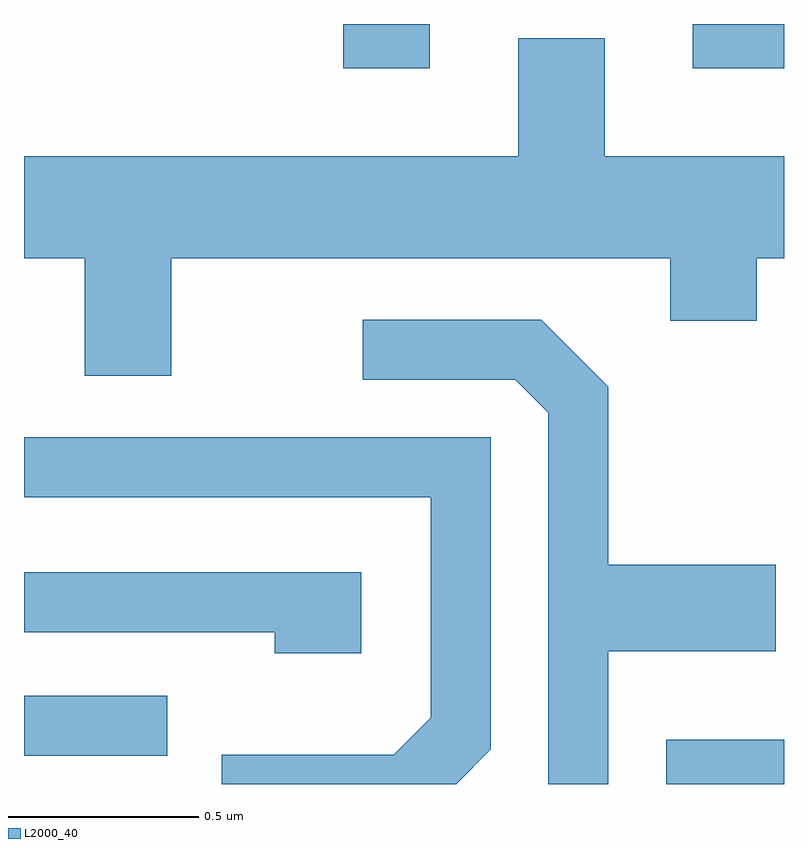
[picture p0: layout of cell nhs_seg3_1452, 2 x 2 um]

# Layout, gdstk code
import gdstk
lib = gdstk.Library(unit=1e-6, precision=1e-09)
def R(c, l, rs):  # rectangles x0, y0, x1, y1
    for r in rs: c.add(gdstk.rectangle(r[:2], r[2:], *l))
def P(c, l, *ps):  # polygons
    for p in ps: c.add(gdstk.Polygon(p, *l))
L2000_40 = (2000, 40)

nhs_seg3_1452 = lib.new_cell('nhs_seg3_1452')
R(nhs_seg3_1452, L2000_40, [(197.301,1197.892,197.611,1198.009), (195.611,1197.966,195.988,1198.124), (196.451,1199.776,196.679,1199.892), (197.371,1199.776,197.611,1199.892)])
P(nhs_seg3_1452, L2000_40, [(195.999,1199.276),(197.311,1199.276),(197.311,1199.111),(197.539,1199.111),(197.539,1199.276),(197.611,1199.276),(197.611,1199.544),(197.139,1199.544),(197.139,1199.854),(196.911,1199.854),(196.911,1199.544),(195.611,1199.544),(195.611,1199.276),(195.771,1199.276),(195.771,1198.966),(195.999,1198.966)],
  [(197.149,1198.241),(197.589,1198.241),(197.589,1198.469),(197.149,1198.469),(197.149,1198.937),(196.972,1199.114),(196.503,1199.114),(196.503,1198.956),(196.904,1198.956),(196.991,1198.869),(196.991,1197.892),(197.149,1197.892)],
  [(196.839,1197.984),(196.839,1198.804),(195.611,1198.804),(195.611,1198.646),(196.681,1198.646),(196.681,1198.067),(196.584,1197.969),(196.131,1197.969),(196.131,1197.892),(196.748,1197.892)],
  [(196.499,1198.449),(195.611,1198.449),(195.611,1198.291),(196.271,1198.291),(196.271,1198.236),(196.499,1198.236)])

lib.write_gds('nhs_seg3_1452.gds')
